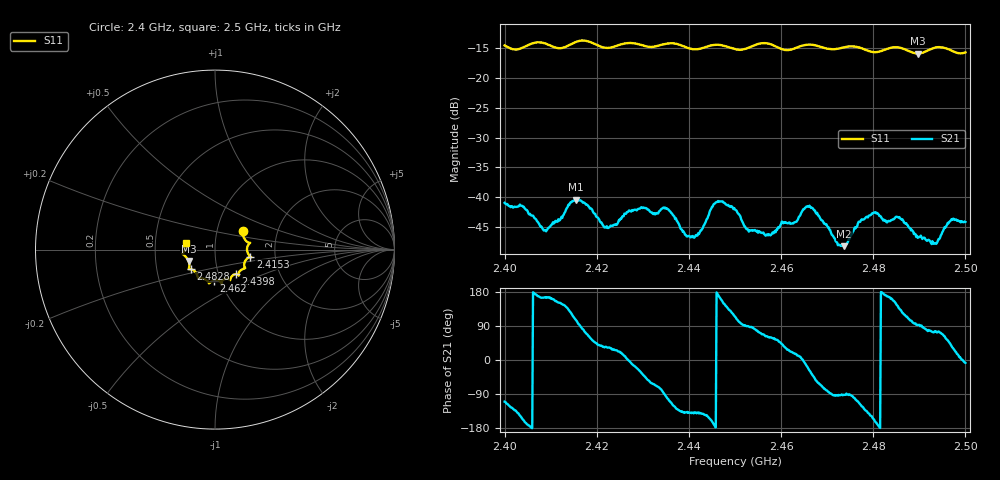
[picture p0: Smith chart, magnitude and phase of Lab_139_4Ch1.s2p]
# Hz S RI R 50
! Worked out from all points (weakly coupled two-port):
!   601 points, 2.4 GHz to 2.5 GHz, reference 50 ohm
!   highest |S21| = -40.47 dB at 2.4155 GHz (marker M1); lowest = -48.3 dB at 2.4737 GHz (marker M2)
!   lowest |S11| = -15.9 dB at 2.4897 GHz (marker M3), VSWR 1.38, Z = 36.9 - j4.83 ohm
!   |S11| at or under -10 dB: start of sweep to end of sweep
!   S12 and S22 are empty: the file has one direction only
!   S11 on the Smith chart (normalised r, x): 2.4 GHz: 1.33, +0.29; 2.4153 GHz: 1.48, -0.12; 2.4398 GHz: 1.21, -0.34; 2.462 GHz: 0.93, -0.33; 2.4828 GHz: 0.74, -0.17; 2.5 GHz: 0.72, +0.06
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2.4e9  0.1551 0.1064  -0.00302 -0.00839  0 0  0 0
2.408833e9  0.1923 0.0352  -0.00509 0.0013  0 0  0 0
2.415333e9  0.1966 -0.0385  -0.0028 0.00895  0 0  0 0
2.4155e9  0.1977 -0.0394  -0.00251 0.00914  0 0  0 0
2.416667e9  0.2023 -0.043  0.000662 0.00919  0 0  0 0
2.422167e9  0.1667 -0.0662  0.00473 0.00314  0 0  0 0
2.433333e9  0.131 -0.1336  0.00241 -0.00686  0 0  0 0
2.4355e9  0.1316 -0.1445  -0.00178 -0.00768  0 0  0 0
2.439833e9  0.1156 -0.1363  -0.00358 -0.00304  0 0  0 0
2.445833e9  0.0846 -0.1707  -0.00899 -0.000303  0 0  0 0
2.45e9  0.0647 -0.1626  -0.00326 0.00711  0 0  0 0
2.456833e9  0.0389 -0.1922  0.00218 0.00429  0 0  0 0
2.462e9  -0.00509 -0.173  0.00548 0.00229  0 0  0 0
2.466667e9  -0.0343 -0.1877  0.00648 -0.0049  0 0  0 0
2.473667e9  -0.0854 -0.1602  -0.00014 -0.00385  0 0  0 0
2.48e9  -0.1098 -0.1238  -0.0066 -0.00311  0 0  0 0
2.482833e9  -0.1363 -0.1096  -0.00606 0.00106  0 0  0 0
2.483333e9  -0.14 -0.1093  -0.00611 0.00149  0 0  0 0
2.489667e9  -0.1474 -0.0637  -0.000202 0.00453  0 0  0 0
2.4935e9  -0.1791 -0.0247  0.00112 0.00394  0 0  0 0
2.497e9  -0.1701 -0.00696  0.00518 0.00394  0 0  0 0
2.5e9  -0.1597 0.039  0.0061 -0.000837  0 0  0 0
